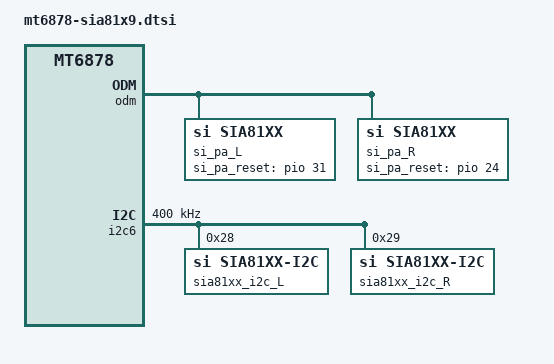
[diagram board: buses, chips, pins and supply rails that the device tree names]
/* Copyright (c) 2018, The Linux Foundation. All rights reserved.
 *
 * This program is free software; you can redistribute it and/or modify
 * it under the terms of the GNU General Public License version 2 and
 * only version 2 as published by the Free Software Foundation.
 *
 * This program is distributed in the hope that it will be useful,
 * but WITHOUT ANY WARRANTY; without even the implied warranty of
 * MERCHANTABILITY or FITNESS FOR A PARTICULAR PURPOSE.  See the
 * GNU General Public License for more details.
 */

&pio {
	sia81xx_gpio_L: sia81xx_gpio_L {
		pins_cmd_dat {
			pinmux = <PINMUX_GPIO31__FUNC_GPIO31>;

			slew-rate = <1>;
			bias-disable;
		};
	};

	sia81xx_gpio_R: sia81xx_gpio_R {
		pins_cmd_dat {
			pinmux = <PINMUX_GPIO24__FUNC_GPIO24>;

			slew-rate = <1>;
			bias-disable;
		};
	};
};

&odm {
	si_pa_L: si_pa@L {
		compatible = "si,sia81xx";
		si,si_pa_type = "sia81x9";
		si,si_pa_reset = <&pio 31 0>;
		pinctrl-names = "si_pa_gpio";
		pinctrl-0 = <&sia81xx_gpio_L>;
		si,si_pa_disable_pin = <0>;

		channel_num = <0>;

	};

	si_pa_R: si_pa@R {
		compatible = "si,sia81xx";
		si,si_pa_type = "sia81x9";
		si,si_pa_reset = <&pio 24 0>;
		pinctrl-names = "si_pa_gpio";
		pinctrl-0 = <&sia81xx_gpio_R>;
		si,si_pa_disable_pin = <0>;

		channel_num = <1>;

	};
};

&sound {
	si,sia81xx-max-num = <2>;
	si,sia81xx-aux-devs = <&si_pa_L>,<&si_pa_R>;
	si,sia81xx-aux-devs-prefix = "SpkrLeft","SpkrRight";
	si,is_analog_pa = <1>;
};

&i2c6 {
	#address-cells = <1>;
	#size-cells = <0>;
	clock-frequency = <400000>;
	mediatek,use-open-drain;

	sia81xx_i2c_L: sia81xx_i2c@L {
		compatible = "si,sia81xx-i2c";
		reg = <0x28>;
		si,sipa-dev = <&si_pa_L>;
	};
	sia81xx_i2c_R: sia81xx_i2c@R {
		compatible = "si,sia81xx-i2c";
		reg = <0x29>;
		si,sipa-dev = <&si_pa_R>;
	};
};
